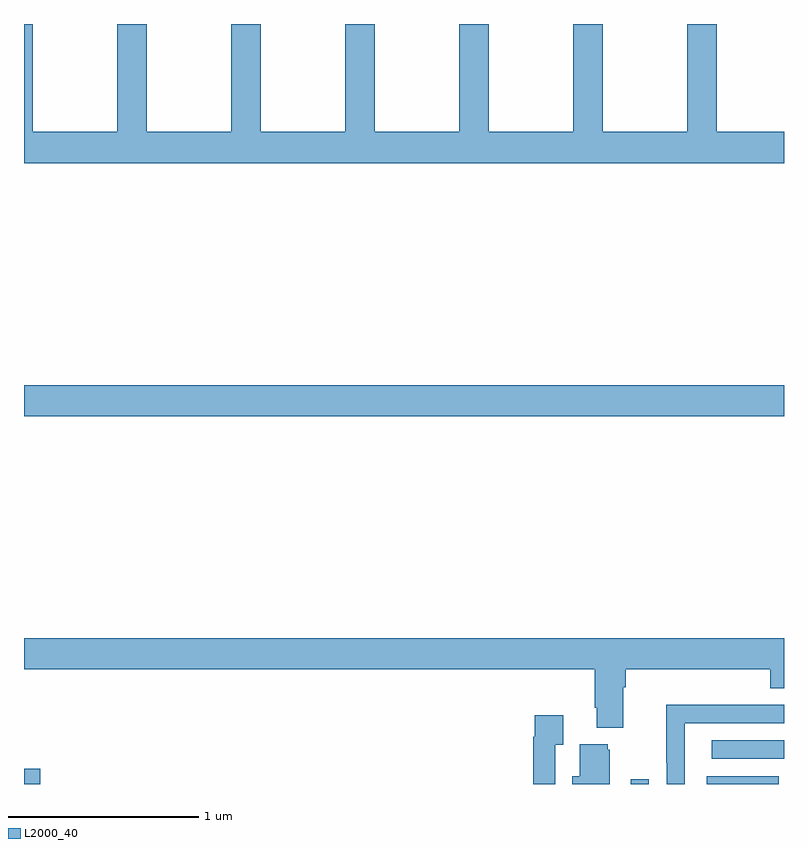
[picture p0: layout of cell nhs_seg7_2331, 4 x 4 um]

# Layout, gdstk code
import gdstk
lib = gdstk.Library(unit=1e-6, precision=1e-09)
def R(c, l, rs):  # rectangles x0, y0, x1, y1
    for r in rs: c.add(gdstk.rectangle(r[:2], r[2:], *l))
def P(c, l, *ps):  # polygons
    for p in ps: c.add(gdstk.Polygon(p, *l))
L2000_40 = (2000, 40)

nhs_seg7_2331 = lib.new_cell('nhs_seg7_2331')
R(nhs_seg7_2331, L2000_40, [(263,1012,263.086,1012.081), (266.193,1012,266.289,1012.024), (266.594,1012,266.972,1012.042), (266.619,1012.134,267,1012.23), (263,1013.936,267,1014.1)])
P(nhs_seg7_2331, L2000_40, [(267,1015.432),(266.646,1015.432),(266.646,1016),(266.491,1016),(266.491,1015.432),(266.046,1015.432),(266.046,1016),(265.891,1016),(265.891,1015.432),(265.446,1015.432),(265.446,1016),(265.291,1016),(265.291,1015.432),(264.846,1015.432),(264.846,1016),(264.691,1016),(264.691,1015.432),(264.246,1015.432),(264.246,1016),(264.091,1016),(264.091,1015.432),(263.646,1015.432),(263.646,1016),(263.491,1016),(263.491,1015.432),(263.046,1015.432),(263.046,1016),(263,1016),(263,1015.268),(267,1015.268)],
  [(266.155,1012.508),(266.168,1012.508),(266.168,1012.604),(266.927,1012.604),(266.927,1012.505),(267,1012.505),(267,1012.768),(263,1012.768),(263,1012.604),(266.003,1012.604),(266.003,1012.402),(266.015,1012.402),(266.015,1012.295),(266.155,1012.295)],
  [(266.478,1012.32),(267,1012.32),(267,1012.416),(266.843,1012.416),(266.843,1012.418),(266.38,1012.418),(266.38,1012.111),(266.382,1012.111),(266.382,1012),(266.478,1012)],
  [(265.797,1012.207),(265.837,1012.207),(265.837,1012.363),(265.689,1012.363),(265.689,1012.25),(265.681,1012.25),(265.681,1012),(265.797,1012)],
  [(266.083,1012.179),(266.072,1012.179),(266.072,1012.21),(265.925,1012.21),(265.925,1012.042),(265.886,1012.042),(265.886,1012),(266.083,1012)])

lib.write_gds('nhs_seg7_2331.gds')
